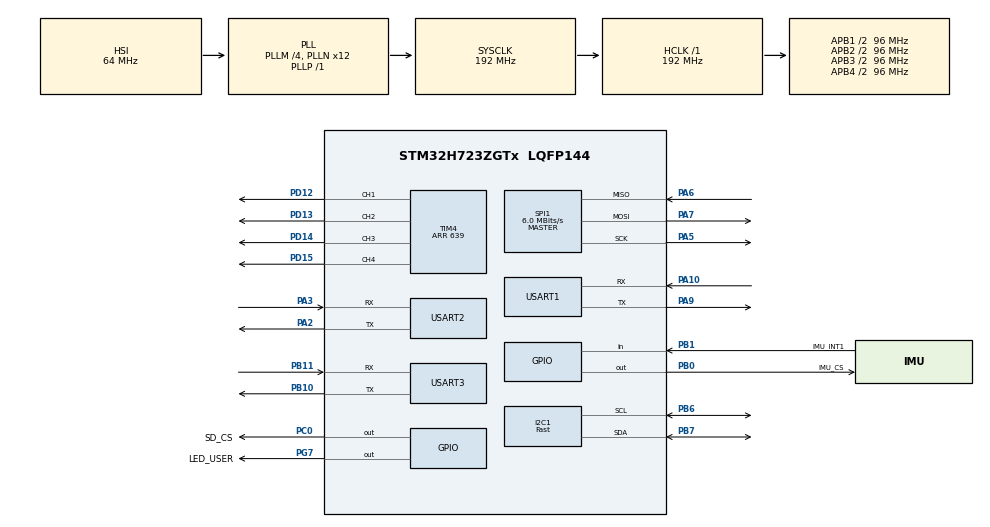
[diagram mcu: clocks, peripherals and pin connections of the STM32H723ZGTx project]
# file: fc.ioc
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CORTEX_M7.default_mode_Activation=1
Dma.Request0=TIM4_UP
Dma.Request1=USART3_RX
Dma.TIM4_UP.0.Direction=DMA_MEMORY_TO_PERIPH
Dma.TIM4_UP.0.EventEnable=DISABLE
Dma.TIM4_UP.0.FIFOMode=DMA_FIFOMODE_DISABLE
Dma.TIM4_UP.0.Instance=DMA1_Stream0
Dma.TIM4_UP.0.MemDataAlignment=DMA_MDATAALIGN_WORD
Dma.TIM4_UP.0.MemInc=DMA_MINC_ENABLE
Dma.TIM4_UP.0.Mode=DMA_NORMAL
Dma.TIM4_UP.0.PeriphDataAlignment=DMA_PDATAALIGN_WORD
Dma.TIM4_UP.0.PeriphInc=DMA_PINC_DISABLE
Dma.TIM4_UP.0.Polarity=HAL_DMAMUX_REQ_GEN_RISING
Dma.TIM4_UP.0.Priority=DMA_PRIORITY_HIGH
Dma.TIM4_UP.0.RequestNumber=1
Dma.TIM4_UP.0.SignalID=NONE
Dma.TIM4_UP.0.SyncEnable=DISABLE
Dma.TIM4_UP.0.SyncPolarity=HAL_DMAMUX_SYNC_NO_EVENT
Dma.TIM4_UP.0.SyncRequestNumber=1
Dma.TIM4_UP.0.SyncSignalID=NONE
Dma.USART3_RX.1.Direction=DMA_PERIPH_TO_MEMORY
Dma.USART3_RX.1.EventEnable=DISABLE
Dma.USART3_RX.1.FIFOMode=DMA_FIFOMODE_DISABLE
Dma.USART3_RX.1.Instance=DMA1_Stream1
Dma.USART3_RX.1.MemDataAlignment=DMA_MDATAALIGN_BYTE
Dma.USART3_RX.1.MemInc=DMA_MINC_ENABLE
Dma.USART3_RX.1.Mode=DMA_CIRCULAR
Dma.USART3_RX.1.PeriphDataAlignment=DMA_PDATAALIGN_BYTE
Dma.USART3_RX.1.PeriphInc=DMA_PINC_DISABLE
Dma.USART3_RX.1.Polarity=HAL_DMAMUX_REQ_GEN_RISING
Dma.USART3_RX.1.Priority=DMA_PRIORITY_MEDIUM
Dma.USART3_RX.1.RequestNumber=1
Dma.USART3_RX.1.SignalID=NONE
Dma.USART3_RX.1.SyncEnable=DISABLE
Dma.USART3_RX.1.SyncPolarity=HAL_DMAMUX_SYNC_NO_EVENT
Dma.USART3_RX.1.SyncRequestNumber=1
Dma.USART3_RX.1.SyncSignalID=NONE
FATFS._USE_LFN=1
I2C1.I2C_Speed_Mode=I2C_Fast
I2C1.Timing=0x009032AE
Mcu.Family=STM32H7
Mcu.Name=STM32H723ZGTx
Mcu.Package=LQFP144
NVIC.DMA1_Stream0_IRQn=true\:0\:0\:false\:false\:true\:false\:true\:true
NVIC.DMA1_Stream1_IRQn=true\:0\:0\:false\:false\:true\:false\:true\:true
NVIC.PriorityGroup=NVIC_PRIORITYGROUP_4
NVIC.TIM6_DAC_IRQn=true\:0\:0\:false\:false\:true\:true\:true\:true
NVIC.USART3_IRQn=true\:0\:0\:false\:false\:true\:true\:true\:true
PA10.Mode=Asynchronous
PA10.Signal=USART1_RX
PA2.Mode=Asynchronous
PA2.Signal=USART2_TX
PA3.Mode=Asynchronous
PA3.Signal=USART2_RX
PA5.Mode=Full_Duplex_Master
PA5.Signal=SPI1_SCK
PA6.Mode=Full_Duplex_Master
PA6.Signal=SPI1_MISO
PA7.Mode=Full_Duplex_Master
PA7.Signal=SPI1_MOSI
PA9.Mode=Asynchronous
PA9.Signal=USART1_TX
PB0.GPIO_Label=IMU_CS
PB0.Signal=GPIO_Output
PB1.GPIO_Label=IMU_INT1
PB1.Signal=GPIO_Input
PB10.Mode=Asynchronous
PB10.Signal=USART3_TX
PB11.Mode=Asynchronous
PB11.Signal=USART3_RX
PB6.Mode=I2C
PB6.Signal=I2C1_SCL
PB7.Mode=I2C
PB7.Signal=I2C1_SDA
PC0.GPIO_Label=SD_CS
PC0.PinState=GPIO_PIN_SET
PC0.Signal=GPIO_Output
PD12.Signal=S_TIM4_CH1
PD13.Signal=S_TIM4_CH2
PD14.Signal=S_TIM4_CH3
PD15.Signal=S_TIM4_CH4
PG7.GPIO_Label=LED_USER
PG7.Signal=GPIO_Output
ProjectManager.HeapSize=0x200
ProjectManager.StackSize=0x400
ProjectManager.TargetToolchain=CMake
RCC.ADCFreq_Value=129000000
RCC.APB1Freq_Value=96000000
RCC.APB2Freq_Value=96000000
RCC.APB3Freq_Value=96000000
RCC.APB4Freq_Value=96000000
RCC.CortexFreq_Value=192000000
RCC.D1PPRE=RCC_APB3_DIV2
RCC.D2PPRE1=RCC_APB1_DIV2
RCC.D2PPRE2=RCC_APB2_DIV2
RCC.D3PPRE=RCC_APB4_DIV2
RCC.DIVM1=4
RCC.DIVN1=12
RCC.DIVP1=1
RCC.HCLKFreq_Value=192000000
RCC.PLLFRACN=0
RCC.SYSCLKFreq_VALUE=192000000
RCC.SYSCLKSource=RCC_SYSCLKSOURCE_PLLCLK
RCC.USBFreq_Value=96000000
SH.S_TIM4_CH1.0=TIM4_CH1,PWM Generation1 CH1
SH.S_TIM4_CH2.0=TIM4_CH2,PWM Generation2 CH2
SH.S_TIM4_CH3.0=TIM4_CH3,PWM Generation3 CH3
SH.S_TIM4_CH4.0=TIM4_CH4,PWM Generation4 CH4
SPI1.BaudRatePrescaler=SPI_BAUDRATEPRESCALER_16
SPI1.CalculateBaudRate=6.0 MBits/s
SPI1.DataSize=SPI_DATASIZE_8BIT
SPI1.Direction=SPI_DIRECTION_2LINES
SPI1.MasterKeepIOState=SPI_MASTER_KEEP_IO_STATE_ENABLE
SPI1.Mode=SPI_MODE_MASTER
SPI1.NSSPMode=SPI_NSS_PULSE_DISABLE
SPI1.VirtualType=VM_MASTER
TIM4.AutoReloadPreload=TIM_AUTORELOAD_PRELOAD_ENABLE
TIM4.Channel-PWM\ Generation1\ CH1=TIM_CHANNEL_1
TIM4.Channel-PWM\ Generation2\ CH2=TIM_CHANNEL_2
TIM4.Channel-PWM\ Generation3\ CH3=TIM_CHANNEL_3
TIM4.Channel-PWM\ Generation4\ CH4=TIM_CHANNEL_4
TIM4.Period=639
TIM6.AutoReloadPreload=TIM_AUTORELOAD_PRELOAD_ENABLE
TIM6.Period=999
TIM6.Prescaler=191
USART1.VirtualMode-Asynchronous=VM_ASYNC
USART2.DMADisableonRxErrorParam=ADVFEATURE_DMA_DISABLEONRXERROR
USART2.OverrunDisableParam=ADVFEATURE_OVERRUN_DISABLE
USART2.VirtualMode-Asynchronous=VM_ASYNC
USART3.VirtualMode-Asynchronous=VM_ASYNC
VP_FATFS_VS_Generic.Mode=User_defined
VP_MEMORYMAP_VS_MEMORYMAP.Mode=CurAppReg
VP_TIM4_VS_ClockSourceINT.Mode=Internal
VP_TIM6_VS_ClockSourceINT.Mode=Enable_Timer
board=custom

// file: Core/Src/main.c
/* USER CODE BEGIN Header */
/**
 ******************************************************************************
 * @file           : main.c
 * @brief          : Main program body — FLARE FC (STM32H723ZGT6)
 ******************************************************************************
 * @attention
 *
 * Copyright (c) 2026 STMicroelectronics.
 * All rights reserved.
 *
 * This software is licensed under terms that can be found in the LICENSE file
 * in the root directory of this software component.
 * If no LICENSE file comes with this software, it is provided AS-IS.
 *
 ******************************************************************************
 */
/* USER CODE END Header */
#include "main.h"
#include "dma.h"
#include "i2c.h"
#include "spi.h"
#include "tim.h"
#include "usart.h"
#include "gpio.h"
#include "fatfs.h"

/* USER CODE BEGIN Includes */
#include "math.h"
#include "dshot.h"
#include "flare.h"
#include "flare_protocol.h"
#include "gps.h"
#include "imu_fusion.h"
#include "mag.h"
#include "rc.h"
#include "sd.h"
#include <stdint.h>
#include <stdio.h>
#include <string.h>
/* USER CODE END Includes */

/* USER CODE BEGIN PD */

/* ── BMI323 register addresses ──────────────────────────────────────────── */
#define BMI323_REG_CHIP_ID       0x00
#define BMI323_REG_ACC_DATA      0x03
#define BMI323_REG_GYR_DATA      0x06
#define BMI323_REG_ACC_CONF      0x20
#define BMI323_REG_GYR_CONF      0x21
#define BMI323_REG_CMD           0x7E
#define BMI323_REG_FEATURE_IO0   0x10
#define BMI323_REG_FEATURE_IO1   0x11
#define BMI323_REG_FEATURE_IO2   0x12
#define BMI323_REG_FEATURE_IO_ST 0x14
#define BMI323_REG_FEATURE_CTRL  0x40

/* ── BMI323 configuration values ────────────────────────────────────────── */
#define BMI323_CMD_SOFT_RESET    0xDEAF
#define BMI323_ACC_CONF_VAL      0x4028
#define BMI323_GYR_CONF_VAL      0x4048

/* Loop interval — 10ms = 100Hz */
#define IMU_LOOP_INTERVAL_MS     10

/* ── IMU level calibration ───────────────────────────────────────────────── */
#define IMU_CAL_SAMPLES          1000    /* 10s at 10ms/sample                 */
#define IMU_CAL_SETTLE           900     /* discard first 9s, average last 1s */
#define IMU_CAL_AVG_COUNT        (IMU_CAL_SAMPLES - IMU_CAL_SETTLE) /* 100  */
#define IMU_CAL_MAX_OFFSET_DEG   10.0f  /* sanity limit — halt if exceeded   */

/* USER CODE END PD */

/* USER CODE BEGIN PM */

#define BMI323_POST_WRITE_DELAY()                                              \
  do {                                                                         \
    for (int _d = 0; _d < 200; _d++) {                                         \
      __NOP();                                                                 \
    }                                                                          \
  } while (0)

/* USER CODE END PM */

/* USER CODE BEGIN PV */

extern volatile uint32_t dshot_send_count;
extern volatile uint32_t dshot_tc_count;

volatile uint16_t who_am_i_result   = 0;
volatile uint16_t acc_conf_readback = 0;
volatile uint16_t gyr_conf_readback = 0;
volatile uint16_t acc_conf_default  = 0;

volatile int16_t imu_acc_x = 0;
volatile int16_t imu_acc_y = 0;
volatile int16_t imu_acc_z = 0;

volatile int16_t imu_gyr_x = 0;
volatile int16_t imu_gyr_y = 0;
volatile int16_t imu_gyr_z = 0;

/* Last known-good accel samples — used to replace all-zero dropout reads */
static int16_t last_acc_x = 0;
static int16_t last_acc_y = 0;
static int16_t last_acc_z = 0;

IMU_Fusion_t imu_fusion;

MAG_Cal_t mag_cal;  /* hard-iron offsets — zero until calibrated */
float mag_heading;  /* degrees [0, 360), updated each loop       */

static FLARE_RC_Packet_t rc_pkt = {0};  /* persists across loop iterations */

GPS_Data_t gps_data;  /* latest parsed GPS fix, updated each loop */

/* USER CODE END PV */

void SystemClock_Config(void);
static void MPU_Config(void);

/* USER CODE BEGIN 0 */

static void UART_Print(const char *s)
{
    HAL_UART_Transmit(&huart1, (const uint8_t *)s, strlen(s), HAL_MAX_DELAY);
}

static void SPI1_FlushRxFifo(void)
{
    __HAL_SPI_DISABLE(&hspi1);
    __HAL_SPI_ENABLE(&hspi1);
}

static uint16_t BMI323_ReadReg(uint8_t reg)
{
    uint8_t tx[4] = {reg | 0x80, 0x00, 0x00, 0x00};
    uint8_t rx[4] = {0x00, 0x00, 0x00, 0x00};
    SPI1_FlushRxFifo();
    HAL_GPIO_WritePin(IMU_CS_GPIO_Port, IMU_CS_Pin, GPIO_PIN_RESET);
    (void)HAL_SPI_TransmitReceive(&hspi1, tx, rx, 4, 10);
    HAL_GPIO_WritePin(IMU_CS_GPIO_Port, IMU_CS_Pin, GPIO_PIN_SET);
    SPI1_FlushRxFifo();
    return (uint16_t)(rx[2] | (rx[3] << 8));
}

static void BMI323_WriteReg(uint8_t reg, uint16_t val)
{
    uint8_t tx[4] = {
        reg & 0x7F,
        (uint8_t)(val & 0xFF),
        (uint8_t)((val >> 8) & 0xFF),
        0x00,
    };
    uint8_t rx[4] = {0};
    SPI1_FlushRxFifo();
    HAL_GPIO_WritePin(IMU_CS_GPIO_Port, IMU_CS_Pin, GPIO_PIN_RESET);
    (void)HAL_SPI_TransmitReceive(&hspi1, tx, rx, 4, 10);
    HAL_GPIO_WritePin(IMU_CS_GPIO_Port, IMU_CS_Pin, GPIO_PIN_SET);
    SPI1_FlushRxFifo();
    BMI323_POST_WRITE_DELAY();
}

static void BMI323_BurstRead(uint8_t reg, int16_t *out, uint8_t count)
{
    uint8_t tx_len = 2 + (count * 2);
    uint8_t tx[14] = {0};
    uint8_t rx[14] = {0};
    tx[0] = reg | 0x80;
    SPI1_FlushRxFifo();
    HAL_GPIO_WritePin(IMU_CS_GPIO_Port, IMU_CS_Pin, GPIO_PIN_RESET);
    __NOP(); __NOP(); __NOP(); __NOP();
    (void)HAL_SPI_TransmitReceive(&hspi1, tx, rx, tx_len, 10);
    __NOP(); __NOP();
    HAL_GPIO_WritePin(IMU_CS_GPIO_Port, IMU_CS_Pin, GPIO_PIN_SET);
    SPI1_FlushRxFifo();
    for (uint8_t i = 0; i < count; i++) {
        uint8_t base = 2 + (i * 2);
        out[i] = (int16_t)(rx[base] | (rx[base + 1] << 8));
    }
}

static uint8_t BMI323_InitFeatureEngine(void)
{
    BMI323_WriteReg(BMI323_REG_FEATURE_IO0, 0x0000); HAL_Delay(1);
    BMI323_WriteReg(BMI323_REG_FEATURE_IO2, 0x012C); HAL_Delay(1);
    BMI323_WriteReg(BMI323_REG_FEATURE_IO_ST, 0x0001); HAL_Delay(1);
    BMI323_WriteReg(BMI323_REG_FEATURE_CTRL, 0x0001); HAL_Delay(10);
    for (int i = 0; i < 50; i++) {
        HAL_Delay(10);
        uint16_t status = BMI323_ReadReg(BMI323_REG_FEATURE_IO1);
        uint8_t err = status & 0x0F;
        if (err == 0x01) return 0;
        if (err == 0x03) return 1;
    }
    return 1;
}

static uint8_t BMI323_Init(void)
{
    HAL_Delay(10);
    uint8_t rst_tx[3] = {BMI323_REG_CMD & 0x7F, 0xAF, 0xDE};
    uint8_t rst_rx[3] = {0};
    SPI1_FlushRxFifo();
    HAL_GPIO_WritePin(IMU_CS_GPIO_Port, IMU_CS_Pin, GPIO_PIN_RESET);
    (void)HAL_SPI_TransmitReceive(&hspi1, rst_tx, rst_rx, 3, 10);
    HAL_GPIO_WritePin(IMU_CS_GPIO_Port, IMU_CS_Pin, GPIO_PIN_SET);
    HAL_Delay(50);
    HAL_SPI_DeInit(&hspi1);
    HAL_Delay(1);
    MX_SPI1_Init();
    HAL_Delay(1);
    BMI323_ReadReg(BMI323_REG_CHIP_ID); HAL_Delay(50);
    BMI323_ReadReg(BMI323_REG_CHIP_ID); HAL_Delay(10);
    who_am_i_result = BMI323_ReadReg(BMI323_REG_CHIP_ID);
    if ((who_am_i_result & 0x00FF) != 0x43) return 1;
    acc_conf_default = BMI323_ReadReg(BMI323_REG_ACC_CONF);
    if (BMI323_InitFeatureEngine() != 0) return 2;
    BMI323_WriteReg(BMI323_REG_ACC_CONF, BMI323_ACC_CONF_VAL); HAL_Delay(10);
    acc_conf_readback = BMI323_ReadReg(BMI323_REG_ACC_CONF);
    BMI323_WriteReg(BMI323_REG_GYR_CONF, BMI323_GYR_CONF_VAL); HAL_Delay(10);
    gyr_conf_readback = BMI323_ReadReg(BMI323_REG_GYR_CONF);
    return 0;
}

static void BMI323_ReadAccel(void)
{
    int16_t buf[3];
    BMI323_BurstRead(BMI323_REG_ACC_DATA, buf, 3);
    imu_acc_x = buf[0];
    imu_acc_y = buf[1];
    imu_acc_z = buf[2];
}

static void BMI323_ReadGyro(void)
{
    int16_t buf[3];
    BMI323_BurstRead(BMI323_REG_GYR_DATA, buf, 3);
    imu_gyr_x = buf[0];
    imu_gyr_y = buf[1];
    imu_gyr_z = buf[2];
}

/* USER CODE END 0 */

int main(void)
{

  /* MPU Configuration--------------------------------------------------------*/
  MPU_Config();

  /* MCU Configuration--------------------------------------------------------*/

  /* Reset of all peripherals, Initializes the Flash interface and the Systick. */
  HAL_Init();

  /* Configure the system clock */
  SystemClock_Config();

  /* Initialize all configured peripherals */
  MX_GPIO_Init();
  MX_DMA_Init();
  MX_USART1_UART_Init();
  MX_SPI1_Init();
  MX_TIM4_Init();
  MX_I2C1_Init();
  MX_USART2_UART_Init();
  MX_TIM6_Init();
  MX_USART3_UART_Init();
  MX_FATFS_Init();
  /* USER CODE BEGIN 2 */

    char msg[128];
    uint32_t loop_count = 0;

    HAL_Delay(10);

    DSHOT_Init();
    UART_Print("[DSHOT] driver ready\r\n");

    HAL_TIM_Base_Start_IT(&htim6);
    UART_Print("[DSHOT] 1kHz timer started\r\n");

    snprintf(msg, sizeof(msg), "[DSHOT] arming loop start t=%lums\r\n",
             HAL_GetTick());
    UART_Print(msg);

    for (int i = 0; i < 800; i++) {
        HAL_Delay(10);
    }

    snprintf(msg, sizeof(msg), "[DSHOT] arming loop done  t=%lums\r\n",
             HAL_GetTick());
    UART_Print(msg);
    UART_Print("[DSHOT] ESCs armed\r\n");

    UART_Print("[FLARE] boot ok\r\n");

    uint8_t init_result = BMI323_Init();
    if (init_result == 1) {
        UART_Print("[IMU] INIT FAILED -- WHO_AM_I mismatch\r\n");
        Error_Handler();
    } else if (init_result == 2) {
        UART_Print("[IMU] INIT FAILED -- feature engine timeout\r\n");
        Error_Handler();
    }

    snprintf(msg, sizeof(msg), "[IMU] WHO_AM_I    = 0x%02X (expect 0x43)\r\n",
             who_am_i_result & 0x00FF);
    UART_Print(msg);
    snprintf(msg, sizeof(msg), "[IMU] ACC default = 0x%04X\r\n",
             acc_conf_default);
    UART_Print(msg);
    snprintf(msg, sizeof(msg), "[IMU] ACC write   = 0x%04X (expect 0x4028)\r\n",
             acc_conf_readback);
    UART_Print(msg);
    snprintf(msg, sizeof(msg), "[IMU] GYR write   = 0x%04X (expect 0x4048)\r\n",
             gyr_conf_readback);
    UART_Print(msg);

    IMU_Fusion_Init(&imu_fusion, 0.01f, 80.0f, 30.0f);
    UART_Print("[FUSION] complementary filter + LPF ready\r\n");

    mag_cal.offset_x = -251.0f;
    mag_cal.offset_y = 41.5f;
    uint8_t mag_chip_id = 0;
    uint8_t mag_result = MAG_Init(&hi2c1, &mag_chip_id);
    uint8_t mag_ok = (mag_result != MAG_ERR_I2C);
    snprintf(msg, sizeof(msg), "[MAG] chip ID = 0x%02X\r\n", mag_chip_id);
    UART_Print(msg);
    if (!mag_ok) {
        UART_Print("[MAG] INIT FAILED -- skipping mag reads\r\n");
    } else {
        UART_Print("[MAG] QMC5883P ready\r\n");
    }

    FLARE_Init();
    UART_Print("[FLARE] PID controller ready\r\n");

    RC_Init();
    snprintf(msg, sizeof(msg), "[RC] init status=%u (0=OK)\r\n", rc_init_status);
    UART_Print(msg);
    UART_Print("[RC] USART2 receiver ready\r\n");

    /* ── GPS init ───────────────────────────────────────────────────────── */
    GPS_Init(&huart3, &gps_data);
    UART_Print("[GPS] USART3 DMA receiver ready\r\n");
    UART_Print("[GPS] waiting for fix (may take 30-120s outdoors)...\r\n");

    /* ── IMU level calibration ───────────────────────────────────────────── *
     * Runs for IMU_CAL_SAMPLES * 10ms (5 seconds). The first IMU_CAL_SETTLE  *
     * samples are discarded to let the complementary filter converge; the     *
     * final IMU_CAL_AVG_COUNT samples (1 second) are averaged for the offset. *
     *                                                                          *
     * If either offset exceeds IMU_CAL_MAX_OFFSET_DEG the quad is not level   *
     * — print a warning and halt rather than fly with a bad calibration.       *
     * ───────────────────────────────────────────────────────────────────────*/
    UART_Print("[CAL] Hold still — levelling IMU (5s)...\r\n");
    float imu_roll_offset  = 0.0f;
    float imu_pitch_offset = 0.0f;
    float cal_roll_sum  = 0.0f;
    float cal_pitch_sum = 0.0f;
    for (int cal_i = 0; cal_i < IMU_CAL_SAMPLES; cal_i++) {
        BMI323_ReadAccel();
        BMI323_ReadGyro();
        IMU_Fusion_Update(&imu_fusion,
                          imu_acc_x, imu_acc_y, imu_acc_z,
                          imu_gyr_x, imu_gyr_y, imu_gyr_z,
                          0.0f, 0.01f, 0.96f, 0.90f);
        if (cal_i >= IMU_CAL_SETTLE) {
            cal_roll_sum  += imu_fusion.roll;
            cal_pitch_sum += imu_fusion.pitch;
        }
        HAL_Delay(10);
    }
    imu_roll_offset  = cal_roll_sum  / (float)IMU_CAL_AVG_COUNT;
    imu_pitch_offset = cal_pitch_sum / (float)IMU_CAL_AVG_COUNT;
    snprintf(msg, sizeof(msg), "[CAL] level offset: roll=%.2f  pitch=%.2f\r\n",
             imu_roll_offset, imu_pitch_offset);
    UART_Print(msg);

    /* Sanity check — offsets beyond ±10° mean the quad wasn't level */
    if (imu_roll_offset  >  IMU_CAL_MAX_OFFSET_DEG ||
        imu_roll_offset  < -IMU_CAL_MAX_OFFSET_DEG ||
        imu_pitch_offset >  IMU_CAL_MAX_OFFSET_DEG ||
        imu_pitch_offset < -IMU_CAL_MAX_OFFSET_DEG) {
        UART_Print("[CAL] ERROR -- offset exceeds ±10 deg, quad not level -- HALTING\r\n");
        Error_Handler();
    }
    UART_Print("[CAL] offsets OK\r\n");

    UART_Print("[IMU] starting 100Hz loop\r\n");

    /* ── SD card blackbox logger init ───────────────────────────────────── */
    SD_Log_Result_t sd_log_result = SD_Log_Init();
    UART_Print(SD_Log_StatusStr());
    UART_Print("\r\n");
    if (sd_log_result != SD_LOG_OK) {
        UART_Print("[SD] WARNING: logging disabled\r\n");
    }

    /* SD init disturbs SPI1 — reinitialize BMI323 to restore its config */
    if (BMI323_Init() == 0) {
        UART_Print("[IMU] post-SD reinit OK\r\n");
    } else {
        UART_Print("[IMU] post-SD reinit FAILED\r\n");
        Error_Handler();
    }

  /* USER CODE END 2 */

  /* Infinite loop */
    while (1)
    {

    /* USER CODE BEGIN 3 */

        uint32_t tick_start = HAL_GetTick();

        /* Flush SPI1 RX FIFO before every IMU read — prevents residual bytes
         * from prior SD transactions corrupting the first BMI323 burst read. */
        SPI1_FlushRxFifo();

        BMI323_ReadAccel();
        BMI323_ReadGyro();

        /* Dropout guard — all-zero accel is physically impossible in normal
         * operation and indicates a corrupted SPI read caused by SD bus
         * contention. Replace with last known-good sample so the fusion
         * filter receives a continuous valid signal. */
        if (imu_acc_x == 0 && imu_acc_y == 0 && imu_acc_z == 0) {
            imu_acc_x = last_acc_x;
            imu_acc_y = last_acc_y;
            imu_acc_z = last_acc_z;
        } else {
            last_acc_x = imu_acc_x;
            last_acc_y = imu_acc_y;
            last_acc_z = imu_acc_z;
        }

        if (mag_ok) {
            int16_t mag_rx, mag_ry, mag_rz;
            if (MAG_ReadRaw(&hi2c1, &mag_rx, &mag_ry, &mag_rz) == MAG_OK) {
                float cx = (float)mag_rx - mag_cal.offset_x;
                float cy = (float)mag_ry - mag_cal.offset_y;
                float h = atan2f(cy, cx) * (180.0f / (float)M_PI);
                if (h < 0.0f) h += 360.0f;
                mag_heading = h;
            }
        }

        IMU_Fusion_Update(&imu_fusion,
                          imu_acc_x, imu_acc_y, imu_acc_z,
                          imu_gyr_x, imu_gyr_y, imu_gyr_z,
                          mag_heading, 0.01f, 0.96f, 0.90f);

        float roll_corr  = imu_fusion.roll  - imu_roll_offset;
        float pitch_corr = imu_fusion.pitch - imu_pitch_offset;

        /* ── GPS tick ───────────────────────────────────────────────────── */
        GPS_Update(&gps_data);

        /* ── RC packet consumption ──────────────────────────────────────── */
        if (RC_GetPacket(&rc_pkt)) {
            snprintf(msg, sizeof(msg),
                     "[RC] arm=%u thr=%u rol=%u pit=%u yaw=%u mode=%u crc_fail=%lu\r\n",
                     rc_pkt.armed,
                     rc_pkt.throttle, rc_pkt.roll,
                     rc_pkt.pitch,    rc_pkt.yaw,
                     rc_pkt.mode,
                     rc_crc_failures);
            UART_Print(msg);
        }

        if (RC_IsHealthy() && rc_pkt.mode != FLARE_MODE_SAFE) {
            motors_enabled = 1;

            FLARE_SetRollSP   (((float)rc_pkt.roll    - 1500.0f) * (30.0f  / 500.0f));
            FLARE_SetPitchSP  (((float)rc_pkt.pitch   - 1500.0f) * (30.0f  / 500.0f));
            FLARE_SetYawRateSP(((float)rc_pkt.yaw     - 1500.0f) * (200.0f / 500.0f));

            uint16_t dshot_thr = (uint16_t)(
                ((float)(rc_pkt.throttle - 1000) / 1000.0f)
                * (2047.0f - 48.0f) + 48.0f);
            if (dshot_thr < 48) dshot_thr = 48;

            FLARE_SetThrottle(dshot_thr);
            FLARE_SetArmed(1);
            FLARE_Update(roll_corr, pitch_corr,
                         imu_fusion.gx_dps, imu_fusion.gy_dps, imu_fusion.gz_dps,
                         0.01f);

            snprintf(msg, sizeof(msg),
                     "[THR] rc=%u dshot=%u m1=%u m2=%u m3=%u m4=%u\r\n",
                     rc_pkt.throttle, dshot_thr,
                     dshot_m1, dshot_m2, dshot_m3, dshot_m4);
            UART_Print(msg);
        } else {
            motors_enabled = 0;
            FLARE_SetArmed(0);
            FLARE_SetThrottle(0);
            FLARE_Update(roll_corr, pitch_corr,
                         imu_fusion.gx_dps, imu_fusion.gy_dps, imu_fusion.gz_dps,
                         0.0f);

            snprintf(msg, sizeof(msg),
                     "[SAFE] m1=%u m2=%u m3=%u m4=%u\r\n",
                     dshot_m1, dshot_m2, dshot_m3, dshot_m4);
            UART_Print(msg);
        }

        snprintf(msg, sizeof(msg),
                 "A:%6d %6d %6d  G:%6d %6d %6d"
                 "  R:%7.2f  P:%7.2f  Y:%7.2f  RC:%s\r\n",
                 imu_acc_x, imu_acc_y, imu_acc_z,
                 imu_gyr_x, imu_gyr_y, imu_gyr_z,
                 roll_corr, pitch_corr, imu_fusion.yaw,
                 RC_IsHealthy() ? "OK" : "LOST");
        UART_Print(msg);

        /* ── GPS telemetry print (once per second = every 100 loops) ────── */
        if (loop_count % 100 == 0) {
            snprintf(msg, sizeof(msg),
                     "[GPS] fix=%u sats=%u lat=%.6f lon=%.6f alt=%.1fft spd=%.1fmph\r\n",
                     gps_data.fix_valid,
                     gps_data.satellites,
                     (double)gps_data.latitude,
                     (double)gps_data.longitude,
                     (double)gps_data.altitude_ft,
                     (double)gps_data.speed_mph);
            UART_Print(msg);

            snprintf(msg, sizeof(msg),
                     "[DIAG] send=%lu tc=%lu\r\n",
                     dshot_send_count, dshot_tc_count);
            UART_Print(msg);
        }

        ++loop_count;

        /* Deadline-based delay — sleep only the remaining time in this 10ms
         * tick. Prevents long operations from pushing the next IMU read late. */
        uint32_t elapsed = HAL_GetTick() - tick_start;
        if (elapsed < IMU_LOOP_INTERVAL_MS) {
            HAL_Delay(IMU_LOOP_INTERVAL_MS - elapsed);
        }

        /* ── SD operations AFTER delay — maximally far from next IMU read ──
         * SPI1_FlushRxFifo() after each call ensures the bus is clean before
         * the next tick's BMI323_ReadAccel(). */
        if (loop_count % 20 == 0) {
            SD_Log_Write(
                HAL_GetTick(),
                roll_corr, pitch_corr, imu_fusion.yaw,
                imu_acc_x, imu_acc_y, imu_acc_z,
                imu_gyr_x, imu_gyr_y, imu_gyr_z,
                rc_pkt.throttle,
                dshot_m1, dshot_m2, dshot_m3, dshot_m4,
                rc_pkt.armed,
                RC_IsHealthy(),
                gps_data.fix_valid,
                gps_data.satellites,
                gps_data.latitude,
                gps_data.longitude,
                gps_data.altitude_ft,
                gps_data.speed_mph
            );
            SPI1_FlushRxFifo();
        }

        if (loop_count % 100 == 1) {
            SD_Log_Flush();
            SPI1_FlushRxFifo();
        }

    /* USER CODE END 3 */
    }   /* end while(1) */
}       /* end main()   */

void SystemClock_Config(void)
{
  RCC_OscInitTypeDef RCC_OscInitStruct = {0};
  RCC_ClkInitTypeDef RCC_ClkInitStruct = {0};

  HAL_PWREx_ConfigSupply(PWR_LDO_SUPPLY);
  __HAL_PWR_VOLTAGESCALING_CONFIG(PWR_REGULATOR_VOLTAGE_SCALE1);
  while(!__HAL_PWR_GET_FLAG(PWR_FLAG_VOSRDY)) {}

  RCC_OscInitStruct.OscillatorType = RCC_OSCILLATORTYPE_HSI;
  RCC_OscInitStruct.HSIState = RCC_HSI_DIV1;
  RCC_OscInitStruct.HSICalibrationValue = 64;
  RCC_OscInitStruct.PLL.PLLState = RCC_PLL_ON;
  RCC_OscInitStruct.PLL.PLLSource = RCC_PLLSOURCE_HSI;
  RCC_OscInitStruct.PLL.PLLM = 4;
  RCC_OscInitStruct.PLL.PLLN = 12;
  RCC_OscInitStruct.PLL.PLLP = 1;
  RCC_OscInitStruct.PLL.PLLQ = 2;
  RCC_OscInitStruct.PLL.PLLR = 2;
  RCC_OscInitStruct.PLL.PLLRGE = RCC_PLL1VCIRANGE_3;
  RCC_OscInitStruct.PLL.PLLVCOSEL = RCC_PLL1VCOWIDE;
  RCC_OscInitStruct.PLL.PLLFRACN = 0;
  if (HAL_RCC_OscConfig(&RCC_OscInitStruct) != HAL_OK)
  {
    Error_Handler();
  }

  RCC_ClkInitStruct.ClockType = RCC_CLOCKTYPE_HCLK|RCC_CLOCKTYPE_SYSCLK
                              |RCC_CLOCKTYPE_PCLK1|RCC_CLOCKTYPE_PCLK2
                              |RCC_CLOCKTYPE_D3PCLK1|RCC_CLOCKTYPE_D1PCLK1;
  RCC_ClkInitStruct.SYSCLKSource = RCC_SYSCLKSOURCE_PLLCLK;
  RCC_ClkInitStruct.SYSCLKDivider = RCC_SYSCLK_DIV1;
  RCC_ClkInitStruct.AHBCLKDivider = RCC_HCLK_DIV1;
  RCC_ClkInitStruct.APB3CLKDivider = RCC_APB3_DIV2;
  RCC_ClkInitStruct.APB1CLKDivider = RCC_APB1_DIV2;
  RCC_ClkInitStruct.APB2CLKDivider = RCC_APB2_DIV2;
  RCC_ClkInitStruct.APB4CLKDivider = RCC_APB4_DIV2;

  if (HAL_RCC_ClockConfig(&RCC_ClkInitStruct, FLASH_LATENCY_2) != HAL_OK)
  {
    Error_Handler();
  }
}

/* USER CODE BEGIN 4 */

void HAL_UART_RxCpltCallback(UART_HandleTypeDef *huart)
{
    if (huart->Instance == USART2) {
        RC_UART_RxCpltCallback();
    }
}

/* USER CODE END 4 */

static void MPU_Config(void)
{
    MPU_Region_InitTypeDef MPU_InitStruct = {0};

    HAL_MPU_Disable();

    /*
     * Region 0: AXI SRAM (0x24000000, 512KB) — Non-cacheable.
     *
     * The DSHOT DMA buffer lives here. Non-cacheable ensures CPU writes
     * are immediately visible to DMA without explicit cache flush calls.
     * TEX=1, C=0, B=0 = Normal memory, Non-cacheable.
     */
    MPU_InitStruct.Enable             = MPU_REGION_ENABLE;
    MPU_InitStruct.Number             = MPU_REGION_NUMBER0;
    MPU_InitStruct.BaseAddress        = 0x24000000;
    MPU_InitStruct.Size               = MPU_REGION_SIZE_512KB;
    MPU_InitStruct.SubRegionDisable   = 0x00;
    MPU_InitStruct.TypeExtField       = MPU_TEX_LEVEL1;
    MPU_InitStruct.AccessPermission   = MPU_REGION_FULL_ACCESS;
    MPU_InitStruct.DisableExec        = MPU_INSTRUCTION_ACCESS_DISABLE;
    MPU_InitStruct.IsShareable        = MPU_ACCESS_NOT_SHAREABLE;
    MPU_InitStruct.IsCacheable        = MPU_ACCESS_NOT_CACHEABLE;
    MPU_InitStruct.IsBufferable       = MPU_ACCESS_NOT_BUFFERABLE;
    HAL_MPU_ConfigRegion(&MPU_InitStruct);

    HAL_MPU_Enable(MPU_PRIVILEGED_DEFAULT);
}

void Error_Handler(void)
{
    __disable_irq();
    while (1) {}
}
